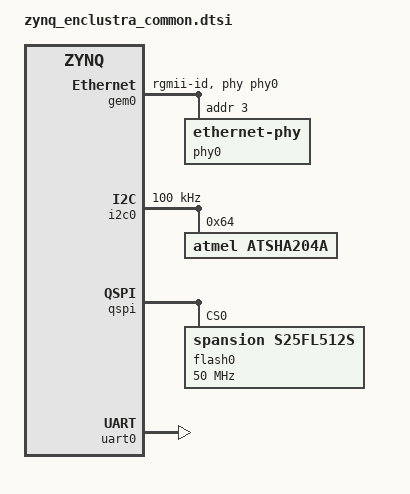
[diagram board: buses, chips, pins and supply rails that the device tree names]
// SPDX-License-Identifier: GPL-2.0+
/*
 *  Copyright (C) 2020 Enclustra GmbH
 *
 * This software is licensed under the terms of the GNU General Public
 * License version 2, as published by the Free Software Foundation, and
 * may be copied, distributed, and modified under those terms.
 *
 * This program is distributed in the hope that it will be useful,
 * but WITHOUT ANY WARRANTY; without even the implied warranty of
 * MERCHANTABILITY or FITNESS FOR A PARTICULAR PURPOSE.  See the
 * GNU General Public License for more details.
 */

&gem0 {
	status = "okay";
	phy-handle = <&phy0>;
	phy-mode = "rgmii-id";
	/delete-property/ local-mac-address;

	phy0: ethernet-phy@3 {
	    reg = <3>;

	    txc-skew-ps = <1800>;
	    txen-skew-ps = <420>;

	    txd0-skew-ps = <420>;
	    txd1-skew-ps = <420>;
	    txd2-skew-ps = <420>;
	    txd3-skew-ps = <420>;

	    rxc-skew-ps = <900>;
	    rxdv-skew-ps = <420>;

	    rxd0-skew-ps = <420>;
	    rxd1-skew-ps = <420>;
	    rxd2-skew-ps = <420>;
	    rxd3-skew-ps = <420>;
	};

};

&i2c0 {
	status = "okay";
	clock-frequency = <100000>;

	atsha204a@64 {
		compatible = "atmel,atsha204a", "atmel,atsha204-i2c";
		reg = <0x64>;
	};
};

&qspi {
	status = "okay";
	#address-cells = <1>;
	#size-cells = <0>;
	is-dual = <0>;
	num-cs = <1>;
	flash0: flash@0 {
		reg = <0x0>;
		compatible = "spansion,s25fl512s", "jedec,spi-nor";
		spi-rx-bus-width = <0x4>;
		spi-tx-bus-width = <0x4>;
		spi-max-frequency = <50000000>;
		#address-cells = <1>;
		#size-cells = <1>;
	};
};

&uart0 {
	u-boot,dm-pre-reloc;
	status = "okay";
	cts-override ;
	device_type = "serial";
	port-number = <0>;
};
